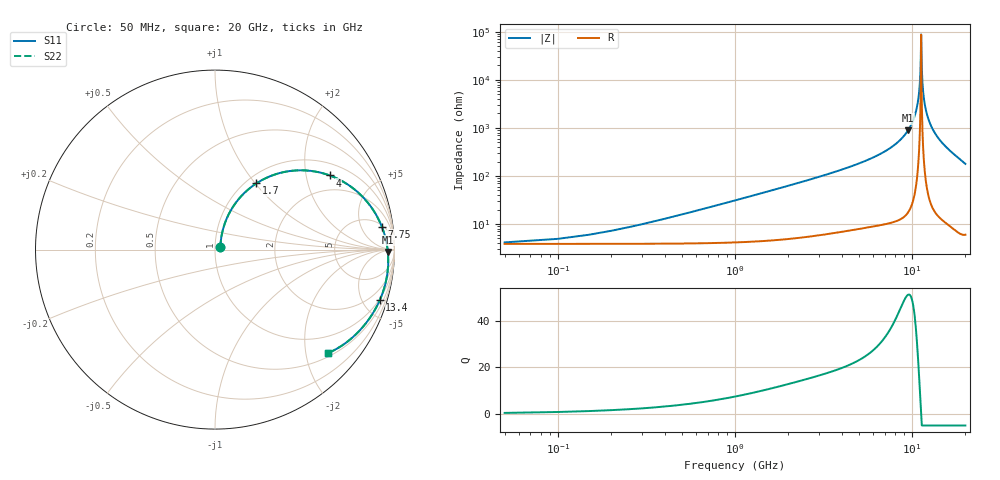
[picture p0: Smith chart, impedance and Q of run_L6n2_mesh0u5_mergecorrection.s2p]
#  Hz  S  RI  R  50
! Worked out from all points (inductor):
!   400 points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, 50 MHz to 20 GHz, reference 50 ohm
!   read as one part in series: L = 4.85 nH near 400 MHz
!   highest Q = 51.2 at 9.5 GHz (marker M1), where L = 15 nH
!   self-resonance near 11.25 GHz
!   S11 on the Smith chart (normalised r, x): 50 MHz: 1.06, +0.03; 1.7 GHz: 1.11, +1.02; 4 GHz: 1.40, +2.75; 7.75 GHz: 6, +12; 13.4 GHz: 0.90, -6.53; 20 GHz: 0.58, -2.46
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5e7  0.0298 0.0137  0.9553 -0.0146  0.9553 -0.0146  0.0298 0.0137
3e8  0.0373 0.0815  0.9477 -0.0869  0.9477 -0.0869  0.0373 0.0815
6e8  0.0596 0.1592  0.9248 -0.17  0.9248 -0.17  0.0596 0.1592
1.7e9  0.2312 0.3693  0.7491 -0.3977  0.7491 -0.3977  0.2312 0.3692
3.4e9  0.5498 0.4364  0.4237 -0.4859  0.4237 -0.4859  0.5498 0.4362
4e9  0.6397 0.4132  0.3323 -0.4694  0.3323 -0.4694  0.6396 0.413
6.7e9  0.885 0.2152  0.0828 -0.302  0.0828 -0.302  0.8849 0.2149
7.75e9  0.9296 0.1278  0.0369 -0.2272  0.0369 -0.2272  0.9295 0.1274
9.5e9  0.9631 -0.0133  0.000624 -0.1078  0.000624 -0.1078  0.9629 -0.0138
1.005e10  0.9653 -0.0555  -0.00261 -0.0726  -0.00261 -0.0726  0.965 -0.0559
1.095e10  0.9618 -0.1216  -0.00113 -0.0178  -0.00113 -0.0178  0.9616 -0.1221
1.115e10  0.96 -0.1358  0.000235 -0.00609  0.000235 -0.00609  0.9597 -0.1363
1.12e10  0.9595 -0.1394  0.00063 -0.0032  0.00063 -0.0032  0.9592 -0.1398
1.125e10  0.959 -0.1429  0.00105 -0.000321  0.00105 -0.000322  0.9587 -0.1433
1.13e10  0.9584 -0.1464  0.00148 0.00255  0.00148 0.00254  0.9581 -0.1468
1.14e10  0.9573 -0.1533  0.00242 0.00824  0.00242 0.00824  0.957 -0.1538
1.17e10  0.9532 -0.1739  0.00572 0.025  0.00572 0.025  0.9529 -0.1744
1.23e10  0.9431 -0.2137  0.0144 0.0573  0.0144 0.0573  0.9428 -0.2142
1.335e10  0.9193 -0.2792  0.0355 0.1096  0.0355 0.1096  0.9189 -0.2797
1.34e10  0.918 -0.2822  0.0367 0.112  0.0367 0.112  0.9176 -0.2827
1.67e10  0.8027 -0.4543  0.1425 0.2416  0.1425 0.2416  0.8022 -0.4547
2e10  0.6309 -0.5756  0.3008 0.3178  0.3008 0.3178  0.6304 -0.5759
